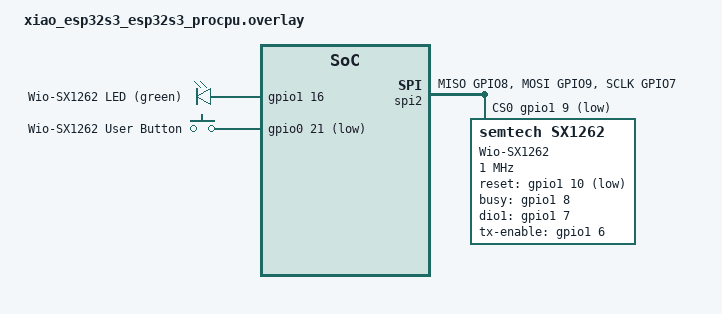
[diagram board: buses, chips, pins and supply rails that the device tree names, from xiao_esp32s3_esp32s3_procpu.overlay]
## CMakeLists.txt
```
cmake_minimum_required(VERSION 3.20.0)

set(BOARD xiao_esp32s3/esp32s3/procpu)


find_package(Zephyr REQUIRED HINTS $ENV{ZEPHYR_BASE})
project(xiao_wand)

target_sources(app PRIVATE src/main.c)
```

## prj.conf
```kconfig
# configurazione per il modulo xiao esp32s3 con wio_sx1262 per la comunicazione LoRa
CONFIG_SPI=y
CONFIG_GPIO=y
CONFIG_INPUT=y




# LoRa
CONFIG_LORA=y
CONFIG_LORA_INIT_PRIORITY=90
CONFIG_LORA_SX126X=y

CONFIG_MAVWRAP=y
CONFIG_MAVWRAP_DIALECT_NAME="common"

CONFIG_LOG=y
CONFIG_LOG_DEFAULT_LEVEL=3
CONFIG_LOG_BACKEND_UART=y
CONFIG_SERIAL=y
CONFIG_UART_CONSOLE=y

CONFIG_MAIN_STACK_SIZE=8192
CONFIG_SYSTEM_WORKQUEUE_STACK_SIZE=4096
```

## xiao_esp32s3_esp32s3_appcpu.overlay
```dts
/* appcpu overlay — no peripherals assigned */
/ {
};
```

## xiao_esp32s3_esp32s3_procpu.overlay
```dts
#include <dt-bindings/input/input-event-codes.h>
#include <zephyr/dt-bindings/pinctrl/esp32s3-pinctrl.h>
#include <dt-bindings/lora/sx126x.h>

/*
 * ┌─────────────────────────────────────────────────────────────────────┐
 * │  Connettore B2B 30-pin → GPIO ESP32-S3                              │
 * ├──────────────────────────┬──────────────────────────────────────────┤
 * │  LORA_SPI_MOSI           │  GPIO 9                                  │
 * │  LORA_SPI_MISO           │  GPIO 8                                  │
 * │  LORA_SPI_SCK            │  GPIO 7                                  │
 * │  LORA_SPI_NSS  (CS)      │  GPIO 41                                 │
 * │  LORA_RST                │  GPIO 42                                 │
 * │  LORA_BUSY               │  GPIO 40                                 │
 * │  LORA_DIO1               │  GPIO 39                                 │
 * │  LORA_RF_SW1/tx-enable   │  GPIO 38                                 │
 * ├──────────────────────────┼──────────────────────────────────────────┤
 * │  LED verde  (Wio PCB)    │  GPIO48  active HIGH                     │
 * ├──────────────────────────┼──────────────────────────────────────────┤
 * │  User Button (Wio PCB)   │  GPIO21  active LOW                      │
 * └──────────────────────────┴──────────────────────────────────────────┘
 */

/ {
	aliases {
		lora0 = &lora_sx1262;
		sw0   = &user_button;
		led-0 = &led_wio;
	};

	leds {
		compatible = "gpio-leds";
		led_wio: led_0 {
			gpios = <&gpio1 16 GPIO_ACTIVE_HIGH>;
			label = "Wio-SX1262 LED (green)";
		};
	};

	buttons {
		compatible = "gpio-keys";
		user_button: button_0 {
			gpios = <&gpio0 21 (GPIO_ACTIVE_LOW | GPIO_PULL_UP)>;
			label = "Wio-SX1262 User Button";
			zephyr,code = <INPUT_KEY_0>;
		};
	};
};

/* ── Ridefinisci spim2_default con i GPIO del connettore B2B ───── */
&pinctrl {
	spim2_default: spim2_default {
		group1 {
			/* MISO: input */
			pinmux = <SPIM2_MISO_GPIO8>;
			input-enable;
			bias-pull-up;
		};
		group2 {
			/* MOSI: output */
			pinmux = <SPIM2_MOSI_GPIO9>;
			output-low;
		};
		group3 {
			/* SCK e CS: output */
			pinmux = <SPIM2_SCLK_GPIO7>;
		};
	};
};

/* ── SPI2 con pinctrl ridefinito ─────────────────────────────────── */
&spi2 {
	status = "okay";
	pinctrl-0 = <&spim2_default>;
	pinctrl-names = "default";

	cs-gpios = <&gpio1 9 GPIO_ACTIVE_LOW>;

	lora_sx1262: lora@0 {
		compatible = "semtech,sx1262";
		reg = <0>;
		spi-max-frequency = <1000000>;
		label = "Wio-SX1262";

		reset-gpios      = <&gpio1 10 (GPIO_ACTIVE_LOW)>;
		busy-gpios       = <&gpio1 8 (GPIO_ACTIVE_HIGH)>;
		dio1-gpios       = <&gpio1 7 GPIO_ACTIVE_HIGH>;
		tx-enable-gpios  = <&gpio1 6 GPIO_ACTIVE_HIGH>;

		tcxo-power-startup-delay-ms = <5>;
		dio3-tcxo-voltage = <SX126X_DIO3_TCXO_3V3>;
	};
};

&gpio1 {
    status = "okay";
};
```

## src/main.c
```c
/*
 * wio_test/src/main.c
 *
 * App di test minimale per XIAO ESP32-S3 + Wio-SX1262 (connettore B2B).
 *
 * Comportamento:
 *   - All'avvio stampa i GPIO assegnati a LED e bottone (debug overlay).
 *   - Il LED lampeggia a 1 Hz per indicare che il firmware è vivo.
 *   - Il bottone usa un interrupt GPIO (edge falling, active LOW).
 *     Alla pressione: il LED lampeggia 5 volte velocemente + TX LoRa.
 *   - La radio viene inizializzata; se fallisce il LED lampeggia in
 *     codice Morse SOS (· · · — — — · · ·) in loop.
 *
 * Alias dall'overlay:
 *   led-0  → led_wio  (GPIO48, active HIGH)
 *   sw0    → user_button (GPIO21, active LOW)
 *   lora0  → lora_sx1262
 */

#include <zephyr/kernel.h>
#include <zephyr/device.h>
#include <zephyr/devicetree.h>
#include <zephyr/drivers/gpio.h>
#include <zephyr/drivers/lora.h>
#include <zephyr/logging/log.h>

LOG_MODULE_REGISTER(wio_test, LOG_LEVEL_DBG);

/* ── Device Tree ────────────────────────────────────────────────── */
#define LED_NODE    DT_ALIAS(led_0)
#define BUTTON_NODE DT_ALIAS(sw0)

static const struct gpio_dt_spec led    = GPIO_DT_SPEC_GET(LED_NODE,    gpios);
static const struct gpio_dt_spec button = GPIO_DT_SPEC_GET(BUTTON_NODE, gpios);

/* ── LoRa ───────────────────────────────────────────────────────── */
#define LORA_FREQUENCY    868100000  /* 868.1 MHz – EU868 ch0 */
#define LORA_TX_POWER     14         /* dBm                    */

static const uint8_t tx_payload[] = "XIAO+WIO TEST";

/* ── Interrupt bottone ──────────────────────────────────────────── */
static struct gpio_callback button_cb_data;
static volatile bool        button_pressed;

static void button_isr(const struct device *dev,
                       struct gpio_callback *cb,
                       uint32_t pins)
{
    ARG_UNUSED(dev);
    ARG_UNUSED(cb);
    ARG_UNUSED(pins);
    button_pressed = true;
}

/* ── Helpers LED ─────────────────────────────────────────────────── */
static void led_blink(int times, int period_ms)
{
    for (int i = 0; i < times; i++) {
        gpio_pin_set_dt(&led, 1);
        k_msleep(period_ms / 2);
        gpio_pin_set_dt(&led, 0);
        k_msleep(period_ms / 2);
    }
}

static void led_sos(void)
{
    /* S = · · ·   O = — — —   S = · · · */
    const int dot  = 150;
    const int dash = 450;
    const int gap  = 150;
    const int word = 600;
    int pattern[] = { dot, dot, dot, dash, dash, dash, dot, dot, dot };
    for (int i = 0; i < 9; i++) {
        gpio_pin_set_dt(&led, 1);
        k_msleep(pattern[i]);
        gpio_pin_set_dt(&led, 0);
        k_msleep(gap);
    }
    k_msleep(word);
}

/* ── TX LoRa ─────────────────────────────────────────────────────── */
static int lora_send_test(const struct device *lora_dev)
{
    int ret = lora_send(lora_dev,
                        (uint8_t *)tx_payload,
                        sizeof(tx_payload) - 1);
    if (ret < 0) {
        LOG_ERR("lora_send() fallito: %d", ret);
    } else {
        LOG_INF("TX OK: \"%s\"", tx_payload);
    }
    return ret;
}

/* ── main ────────────────────────────────────────────────────────── */
int main(void)
{
    int ret;

    LOG_INF("=== XIAO ESP32-S3 + Wio-SX1262 — avvio ===");

    /* ── 1. LED ──────────────────────────────────────────────────── */
    if (!gpio_is_ready_dt(&led)) {
        LOG_ERR("LED GPIO controller non pronto");
        return -ENODEV;
    }
    ret = gpio_pin_configure_dt(&led, GPIO_OUTPUT_INACTIVE);
    if (ret < 0) {
        LOG_ERR("Configurazione LED fallita: %d", ret);
        return ret;
    }
    /* Stampa il GPIO reale assegnato — utile per verificare l'overlay */
    LOG_INF("LED  : GPIO%d, active-%s",
            led.pin,
            (led.dt_flags & GPIO_ACTIVE_LOW) ? "LOW" : "HIGH");

    /* Lampeggio di avvio per confermare che il LED funziona */
    led_blink(3, 200);

    /* ── 2. Bottone (interrupt) ───────────────────────────────────── */
    if (!gpio_is_ready_dt(&button)) {
        LOG_ERR("Button GPIO controller non pronto");
        return -ENODEV;
    }
    ret = gpio_pin_configure_dt(&button, GPIO_INPUT);
    if (ret < 0) {
        LOG_ERR("Configurazione bottone fallita: %d", ret);
        return ret;
    }

    /* Configura interrupt su fronte di discesa (pressione, active LOW) */
    ret = gpio_pin_interrupt_configure_dt(&button, GPIO_INT_EDGE_TO_ACTIVE);
    if (ret < 0) {
        LOG_ERR("Configurazione interrupt bottone fallita: %d", ret);
        return ret;
    }

    gpio_init_callback(&button_cb_data, button_isr, BIT(button.pin));
    gpio_add_callback(button.port, &button_cb_data);

    LOG_INF("BTN  : GPIO%d, active-%s — interrupt abilitato",
            button.pin,
            (button.dt_flags & GPIO_ACTIVE_LOW) ? "LOW" : "HIGH");

    /* ── 3. LoRa ─────────────────────────────────────────────────── */
    k_msleep(100);  /* lascia stabilizzare l'SX1262 dopo il boot */
    const struct device *lora_dev = DEVICE_DT_GET(DT_ALIAS(lora0));

    if (!device_is_ready(lora_dev)) {
        LOG_ERR("SX1262 non pronto — controlla SPI/GPIO nell'overlay");
        while (1) {
            led_sos();
        }
    }
    LOG_INF("LoRa : SX1262 pronto");

    struct lora_modem_config lora_cfg = {
        .frequency    = LORA_FREQUENCY,
        .bandwidth    = BW_125_KHZ,
        .datarate     = SF_7,
        .preamble_len = 8,
        .coding_rate  = CR_4_5,
        .tx_power     = LORA_TX_POWER,
        .tx           = true,
    };

    ret = lora_config(lora_dev, &lora_cfg);
    if (ret < 0) {
        LOG_ERR("lora_config() fallito: %d", ret);
        while (1) {
            led_sos();
        }
    }
    LOG_INF("LoRa : configurato @ %d MHz SF7 BW125 CR4/5 %d dBm",
            LORA_FREQUENCY / 1000000, LORA_TX_POWER);

    /* TX iniziale di verifica */
    ret = lora_send_test(lora_dev);
    if (ret == 0) {
        led_blink(2, 400);
    }

    LOG_INF("=== Loop principale — premi il bottone per TX ===");

    /* ── Loop principale ─────────────────────────────────────────── */
    while (1) {
        /* Lampeggio lento 1 Hz — firmware vivo */
        gpio_pin_toggle_dt(&led);
        k_msleep(500);

        if (button_pressed) {
            button_pressed = false;
            LOG_INF("Bottone premuto — TX LoRa...");
            gpio_pin_set_dt(&led, 0);
            ret = lora_send_test(lora_dev);
            led_blink(5, 100);  /* feedback visivo */
        }
    }

    return 0;
}
```
